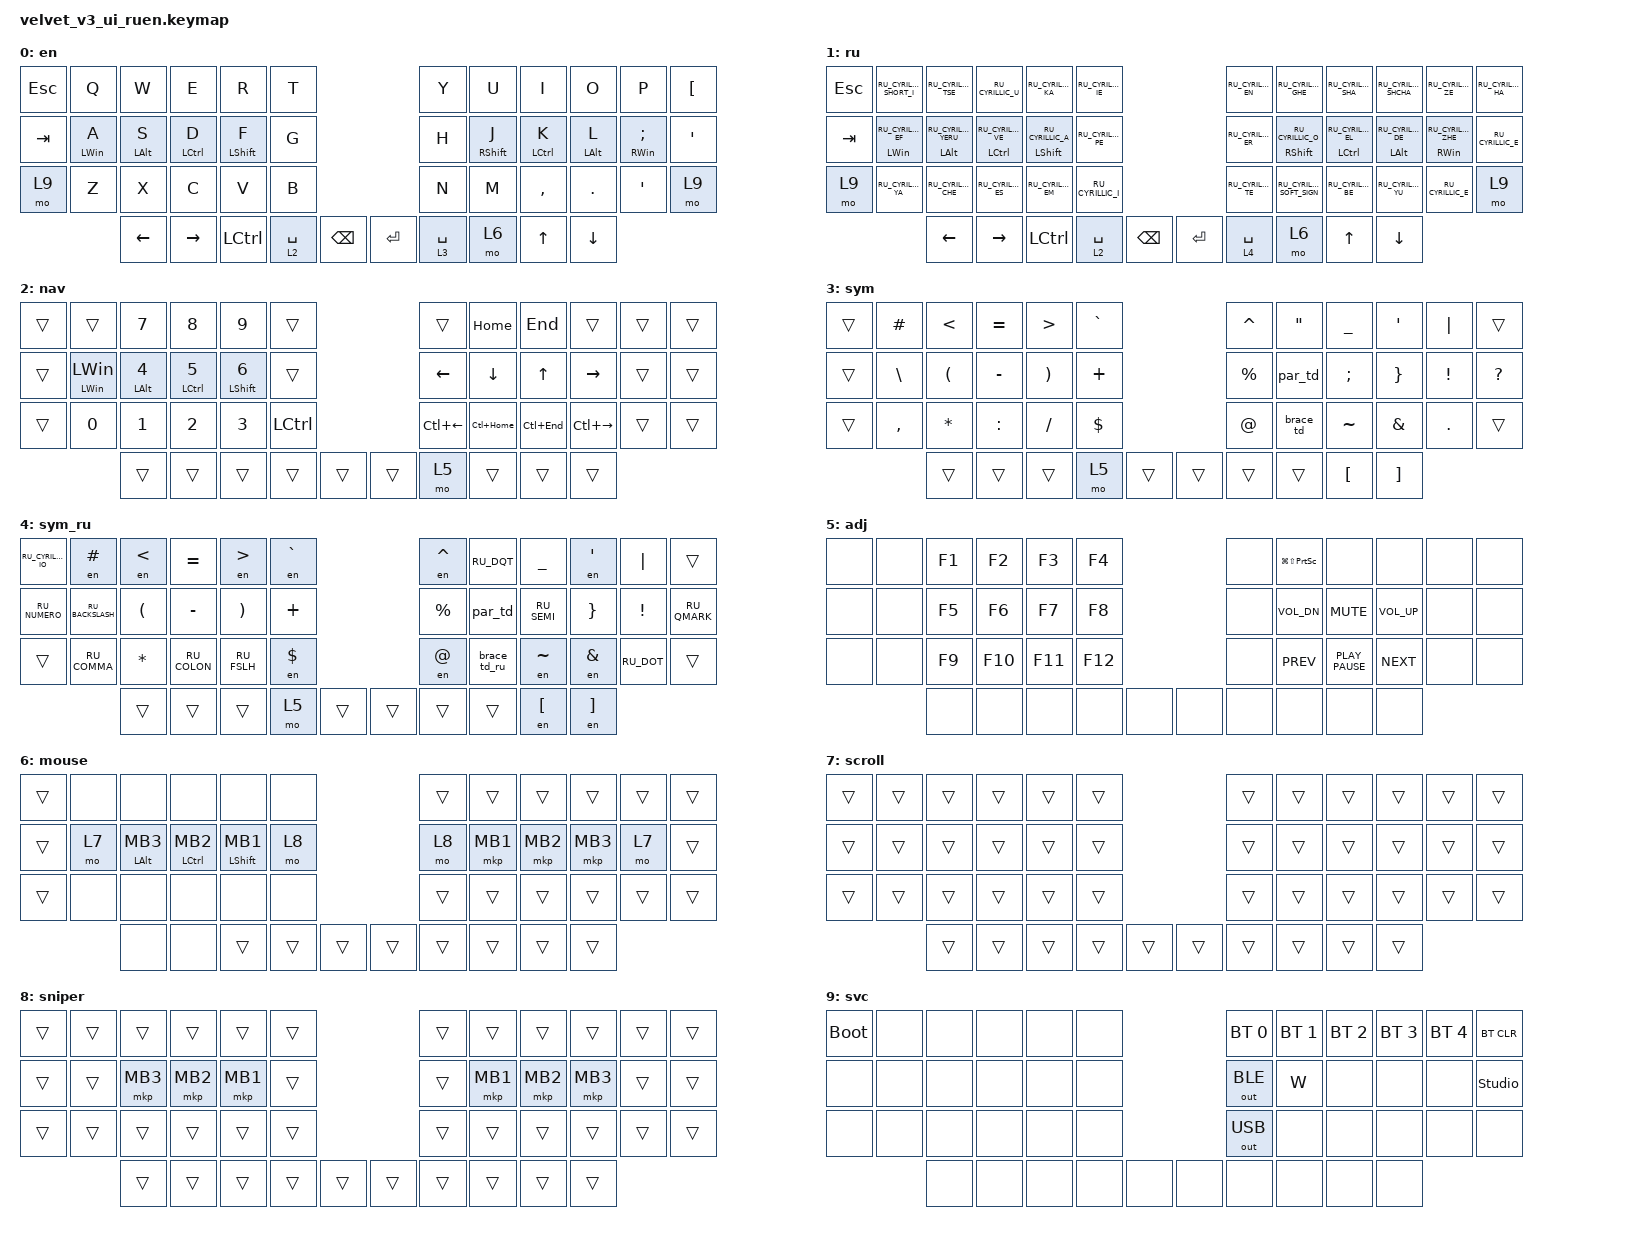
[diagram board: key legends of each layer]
#include "keys_ru.h"
#include <dt-bindings/zmk/input_transform.h>
#include <input/processors.dtsi>
#include <zephyr/dt-bindings/input/input-event-codes.h>
#include <behaviors.dtsi>
#include <dt-bindings/zmk/bt.h>
#include <dt-bindings/zmk/keys.h>
#include <dt-bindings/zmk/outputs.h>
#include <dt-bindings/zmk/pointing.h>

/ {
    behaviors {
        cap_sen: cap_sen {
            compatible = "zmk,behavior-hold-tap";
            label = "CAP_SEN";
            bindings = <&mo>, <&mkp>;

            #binding-cells = <2>;
            tapping-term-ms = <150>;
            hold-while-undecided;
        };

        hml: home_row_mod_left {
            compatible = "zmk,behavior-hold-tap";
            label = "HML";
            bindings = <&kp>, <&kp>;

            #binding-cells = <2>;
            tapping-term-ms = <280>;
            quick-tap-ms = <175>;
            require-prior-idle-ms = <150>;
            flavor = "balanced";
            hold-trigger-key-positions = <6 8 7 19 18 30 31 32 20 44 45 33 21 9 10 22 34 35 23 11 41 42 43>;
            hold-trigger-on-release;
        };

        hmr: home_row_mod_right {
            compatible = "zmk,behavior-hold-tap";
            label = "HMR";
            bindings = <&kp>, <&kp>;

            #binding-cells = <2>;
            tapping-term-ms = <280>;
            quick-tap-ms = <175>;
            require-prior-idle-ms = <150>;
            flavor = "balanced";
            hold-trigger-on-release;
            hold-trigger-key-positions = <0 13 12 24 25 0 1 12 13 14 24 25 26 0 1 2 3 4 5 12 13 14 15 16 17 24 25 26 27 28 29 36 37 38 39 40>;
        };

        par_td: par_td {
            compatible = "zmk,behavior-tap-dance";
            label = "(";
            #binding-cells = <0>;
            bindings = <&kp LPAR>, <&par_left>;
        };

        brace_td: brace_td {
            compatible = "zmk,behavior-tap-dance";
            label = "BRACE_TD";
            #binding-cells = <0>;
            bindings = <&kp LBRC>, <&d_brc>;
        };

        brace_td_ru: brace_td_ru {
            compatible = "zmk,behavior-tap-dance";
            label = "BRACE_TD_RU";
            #binding-cells = <0>;
            bindings = <&en LBRC>, <&d_brc_ru>;
        };

        hml_mouse: hml_mouse {
            compatible = "zmk,behavior-hold-tap";
            label = "HML_MOUSE";
            bindings = <&kp>, <&mkp>;

            #binding-cells = <2>;
            tapping-term-ms = <280>;
            quick-tap-ms = <175>;
            require-prior-idle-ms = <150>;
            flavor = "balanced";
            hold-trigger-key-positions = <6 8 7 19 18 30 31 32 20 44 45 33 21 9 10 22 34 35 23 11 41 42 43>;
            hold-trigger-on-release;
        };

        zip_auto_mouse: zip_auto_mouse {
            compatible = "zmk,input-processor-temp-layer";
            #input-processor-cells = <2>;
            require-prior-idle-ms = <800>;
            excluded-positions = <>;
        };
    };

    combos {
        compatible = "zmk,combos";

        cmben {
            bindings = <&layer_en>;
            key-positions = <3 4>;
            layers = <1 0>;
        };

        cmbru {
            bindings = <&layer_ru>;
            key-positions = <7 8>;
            layers = <0 1>;
        };
    };

    macros {
        to_ru: to_ru {
            compatible = "zmk,behavior-macro";
            #binding-cells = <0>;
            bindings = <&kp LS(LC(N2))>;
            label = "TO_RU";
        };

        to_en: to_en {
            compatible = "zmk,behavior-macro";
            #binding-cells = <0>;
            bindings = <&kp LS(LC(N1))>;
            label = "TO_EN";
        };

        layer_en: layer_en {
            compatible = "zmk,behavior-macro";
            #binding-cells = <0>;
            bindings = <&to 0 &to_en>;
            label = "LAYER_EN";
        };

        layer_ru: layer_ru {
            compatible = "zmk,behavior-macro";
            #binding-cells = <0>;
            bindings = <&to 1 &to_ru>;
            label = "LAYER_RU";
        };

        en: en {
            compatible = "zmk,behavior-macro-one-param";
            #binding-cells = <1>;
            bindings =
                <&to_en &macro_param_1to1 &kp MACRO_PLACEHOLDER>,
                <&macro_wait_time 10>,
                <&to_ru>,
                <&macro_wait_time 10>;

            label = "EN";
        };

        par_left: par_left {
            compatible = "zmk,behavior-macro";
            #binding-cells = <0>;
            bindings = <&kp LPAR &kp RPAR &kp LEFT>;
            label = "PAR_LEFT";
        };

        d_brc_ru: bracket_left_ru {
            compatible = "zmk,behavior-macro";
            #binding-cells = <0>;
            bindings = <&en LBRC &en RBRC &kp LEFT>;
            label = "BRACKET_LEFT_RU";
        };

        d_brc: d_brc {
            compatible = "zmk,behavior-macro";
            #binding-cells = <0>;
            bindings = <&double_en LBRC RBRC &kp LEFT>;
            label = "D_BRC";
        };

        double_en: double_en {
            compatible = "zmk,behavior-macro-two-param";
            #binding-cells = <2>;
            bindings =
                <&to_en &macro_param_1to1 &kp MACRO_PLACEHOLDER &macro_param_2to1 &kp MACRO_PLACEHOLDER>,
                <&macro_wait_time 10>,
                <&to_ru>,
                <&macro_wait_time 10>;

            label = "DOUBLE_EN";
        };
    };

    keymap {
        compatible = "zmk,keymap";

        en {
            bindings = <
&kp ESC  &kp Q        &kp W        &kp E         &kp R          &kp T                                  &kp Y        &kp U          &kp I         &kp O        &kp P           &kp LEFT_BRACKET
&kp TAB  &hml LWIN A  &hml LALT S  &hml LCTRL D  &hml LSHIFT F  &kp G                                  &kp H        &hmr RSHIFT J  &hmr LCTRL K  &hmr LALT L  &hmr RWIN SEMI  &kp SQT
&mo 9    &kp Z        &kp X        &kp C         &kp V          &kp B                                  &kp N        &kp M          &kp COMMA     &kp DOT      &kp SQT         &mo 9
                      &kp LEFT     &kp RIGHT     &kp LCTRL      &lt 2 SPACE  &kp BACKSPACE    &kp RET  &lt 3 SPACE  &mo 6          &kp UP        &kp DOWN
            >;

            display-name = "en";
        };

        ru {
            display-name = "ru";
            bindings = <
&kp ESC  &kp RU_CYRILLIC_SHORT_I   &kp RU_CYRILLIC_TSE         &kp RU_CYRILLIC_U          &kp RU_CYRILLIC_KA         &kp RU_CYRILLIC_IE                            &kp RU_CYRILLIC_EN  &kp RU_CYRILLIC_GHE        &kp RU_CYRILLIC_SHA        &kp RU_CYRILLIC_SHCHA     &kp RU_CYRILLIC_ZE         &kp RU_CYRILLIC_HA
&kp TAB  &hml LWIN RU_CYRILLIC_EF  &hml LALT RU_CYRILLIC_YERU  &hml LCTRL RU_CYRILLIC_VE  &hml LSHIFT RU_CYRILLIC_A  &kp RU_CYRILLIC_PE                            &kp RU_CYRILLIC_ER  &hmr RSHIFT RU_CYRILLIC_O  &hmr LCTRL RU_CYRILLIC_EL  &hmr LALT RU_CYRILLIC_DE  &hmr RWIN RU_CYRILLIC_ZHE  &kp RU_CYRILLIC_E
&mo 9    &kp RU_CYRILLIC_YA        &kp RU_CYRILLIC_CHE         &kp RU_CYRILLIC_ES         &kp RU_CYRILLIC_EM         &kp RU_CYRILLIC_I                             &kp RU_CYRILLIC_TE  &kp RU_CYRILLIC_SOFT_SIGN  &kp RU_CYRILLIC_BE         &kp RU_CYRILLIC_YU        &kp RU_CYRILLIC_E          &mo 9
                                   &kp LEFT                    &kp RIGHT                  &kp LCTRL                  &lt 2 SPACE         &kp BACKSPACE    &kp RET  &lt 4 SPACE         &mo 6                      &kp UP                     &kp DOWN
            >;
        };

        nav {
            bindings = <
&trans  &trans          &kp N7            &kp N8         &kp N9         &trans                       &trans        &kp HOME      &kp END      &trans         &trans  &trans
&trans  &hml LWIN LWIN  &hml LEFT_ALT N4  &hml LCTRL N5  &hml LSHFT N6  &trans                       &kp LEFT      &kp DOWN      &kp UP       &kp RIGHT      &trans  &trans
&trans  &kp N0          &kp N1            &kp N2         &kp N3         &kp LCTRL                    &kp LC(LEFT)  &kp LC(HOME)  &kp LC(END)  &kp LC(RIGHT)  &trans  &trans
                        &trans            &trans         &trans         &trans     &trans    &trans  &mo 5         &trans        &trans       &trans
            >;

            display-name = "nav";
        };

        sym {
            bindings = <
&trans  &kp HASH   &kp LT    &kp EQUAL  &kp GT    &kp GRAVE                    &kp CARET  &kp DQT    &kp UNDER  &kp SQT   &kp PIPE  &trans
&trans  &kp BSLH   &kp LPAR  &kp MINUS  &kp RPAR  &kp PLUS                     &kp PRCNT  &par_td    &kp SEMI   &kp RBRC  &kp EXCL  &kp QUESTION
&trans  &kp COMMA  &kp STAR  &kp COLON  &kp FSLH  &kp DLLR                     &kp AT     &brace_td  &kp TILDE  &kp AMPS  &kp DOT   &trans
                   &trans    &trans     &trans    &mo 5      &trans    &trans  &trans     &trans     &kp LBKT   &kp RBKT
            >;

            display-name = "sym";
        };

        sym_ru {
            display-name = "sym_ru";
            bindings = <
&kp RU_CYRILLIC_IO  &en HASH          &en LT    &kp EQUAL     &en GT       &en GRAVE                    &en CARET  &kp RU_DQT    &kp UNDER    &en SQT   &kp PIPE    &trans
&kp RU_NUMERO       &kp RU_BACKSLASH  &kp LPAR  &kp MINUS     &kp RPAR     &kp PLUS                     &kp PRCNT  &par_td       &kp RU_SEMI  &kp RBRC  &kp EXCL    &kp RU_QMARK
&trans              &kp RU_COMMA      &kp STAR  &kp RU_COLON  &kp RU_FSLH  &en DLLR                     &en AT     &brace_td_ru  &en TILDE    &en AMPS  &kp RU_DOT  &trans
                                      &trans    &trans        &trans       &mo 5      &trans    &trans  &trans     &trans        &en LBKT     &en RBKT
            >;
        };

        adj {
            bindings = <
&none  &none  &kp F1  &kp F2   &kp F3   &kp F4                   &none  &kp LG(LS(PRINTSCREEN))  &none             &none         &none  &none
&none  &none  &kp F5  &kp F6   &kp F7   &kp F8                   &none  &kp C_VOL_DN             &kp K_MUTE        &kp C_VOL_UP  &none  &none
&none  &none  &kp F9  &kp F10  &kp F11  &kp F12                  &none  &kp K_PREV               &kp K_PLAY_PAUSE  &kp K_NEXT    &none  &none
              &none   &none    &none    &none    &none    &none  &none  &none                    &none             &none
            >;

            display-name = "adj";
        };

        mouse {
            bindings = <
&trans  &none  &none                &none                 &none                  &none                     &trans  &trans    &trans    &trans    &trans  &trans
&trans  &mo 7  &hml_mouse LALT MB3  &hml_mouse LCTRL MB2  &hml_mouse LSHIFT MB1  &mo 8                     &mo 8   &mkp MB1  &mkp MB2  &mkp MB3  &mo 7   &trans
&trans  &none  &none                &none                 &none                  &none                     &trans  &trans    &trans    &trans    &trans  &trans
               &none                &none                 &trans                 &trans  &trans    &trans  &trans  &trans    &trans    &trans
            >;
        };

        scroll {
            bindings = <
&trans  &trans  &trans  &trans  &trans  &trans                    &trans  &trans  &trans  &trans  &trans  &trans
&trans  &trans  &trans  &trans  &trans  &trans                    &trans  &trans  &trans  &trans  &trans  &trans
&trans  &trans  &trans  &trans  &trans  &trans                    &trans  &trans  &trans  &trans  &trans  &trans
                &trans  &trans  &trans  &trans  &trans    &trans  &trans  &trans  &trans  &trans
            >;
        };

        sniper {
            bindings = <
&trans  &trans  &trans    &trans    &trans    &trans                    &trans  &trans    &trans    &trans    &trans  &trans
&trans  &trans  &mkp MB3  &mkp MB2  &mkp MB1  &trans                    &trans  &mkp MB1  &mkp MB2  &mkp MB3  &trans  &trans
&trans  &trans  &trans    &trans    &trans    &trans                    &trans  &trans    &trans    &trans    &trans  &trans
                &trans    &trans    &trans    &trans  &trans    &trans  &trans  &trans    &trans    &trans
            >;
        };

        service {
            display-name = "svc";
            bindings = <
&bootloader  &none  &none  &none  &none  &none                  &bt BT_SEL 0  &bt BT_SEL 1  &bt BT_SEL 2  &bt BT_SEL 3  &bt BT_SEL 4  &bt BT_CLR
&none        &none  &none  &none  &none  &none                  &out OUT_BLE  &kp W         &none         &none         &none         &studio_unlock
&none        &none  &none  &none  &none  &none                  &out OUT_USB  &none         &none         &none         &none         &none
                    &none  &none  &none  &none  &none    &none  &none         &none         &none         &none
            >;
        };
    };
};

&trackball { cpi = <1000>; };

&trackball_listener {
    input-processors =
        <&zip_auto_mouse 6 500>,
        <&zip_x_scaler 18 20>,
        <&zip_y_scaler 15 20>;

    scroller {
        layers = <7>;
        input-processors =
            <&zip_xy_transform INPUT_TRANSFORM_Y_INVERT>,
            <&zip_xy_scaler 1 32>,
            <&zip_xy_to_scroll_mapper>;
    };

    sniper {
        layers = <8>;
        input-processors = <&zip_xy_scaler 1 4>;
    };
};
